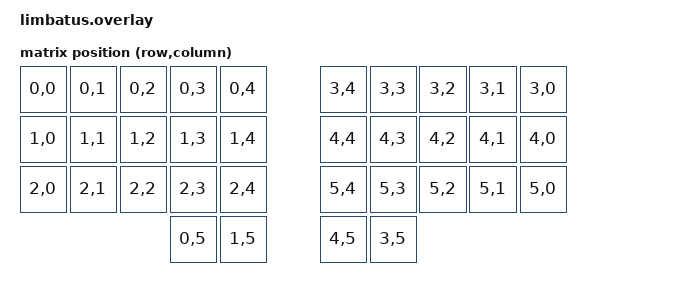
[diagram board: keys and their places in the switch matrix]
/*
 * limbatus — 34-key (advertised / shipping) build.
 *
 * Shares the kscan matrix in limbatus.dtsi; defines the 34-key matrix
 * transform (2 thumbs per side).
 */

#include <dt-bindings/zmk/matrix_transform.h>
#include "limbatus.dtsi"

/ {
    chosen {
        zmk,matrix-transform = &default_transform;
    };

    /*
     * Physical layout -> matrix position map. Ordering matches urob's
     * zmk-helpers key-labels/34.h so limbatus.keymap can use KEYS_L / KEYS_R /
     * THUMBS and home-row mods directly.
     *
     *   ╭────────────────────┬────────────────────╮
     *   │  0   1   2   3   4 │  5   6   7   8   9 │   top row
     *   │ 10  11  12  13  14 │ 15  16  17  18  19 │   home row
     *   │ 20  21  22  23  24 │ 25  26  27  28  29 │   bottom row
     *   ╰───────────╮ 30  31 │ 32  33 ╭───────────╯   thumbs
     *               ╰────────┴────────╯
     *
     * Left half  -> rows R0/R1/R2 (RC row 0/1/2), columns C0..C4.
     * Right half -> rows R3/R4/R5 (RC row 3/4/5), mirrored (pinky outside on C0).
     * Thumbs on C5: left tucky RC(0,5) / middle RC(1,5); right middle RC(4,5) /
     * tucky RC(3,5). (Reachy row R2/R5 on C5 is unused in 34-key.)
     */
    default_transform: keymap_transform_0 {
        compatible = "zmk,matrix-transform";
        columns = <6>;
        rows = <6>;
        map = <
            RC(0,0) RC(0,1) RC(0,2) RC(0,3) RC(0,4)   RC(3,4) RC(3,3) RC(3,2) RC(3,1) RC(3,0)
            RC(1,0) RC(1,1) RC(1,2) RC(1,3) RC(1,4)   RC(4,4) RC(4,3) RC(4,2) RC(4,1) RC(4,0)
            RC(2,0) RC(2,1) RC(2,2) RC(2,3) RC(2,4)   RC(5,4) RC(5,3) RC(5,2) RC(5,1) RC(5,0)
                                    RC(0,5) RC(1,5)   RC(4,5) RC(3,5)
        >;
    };
};
